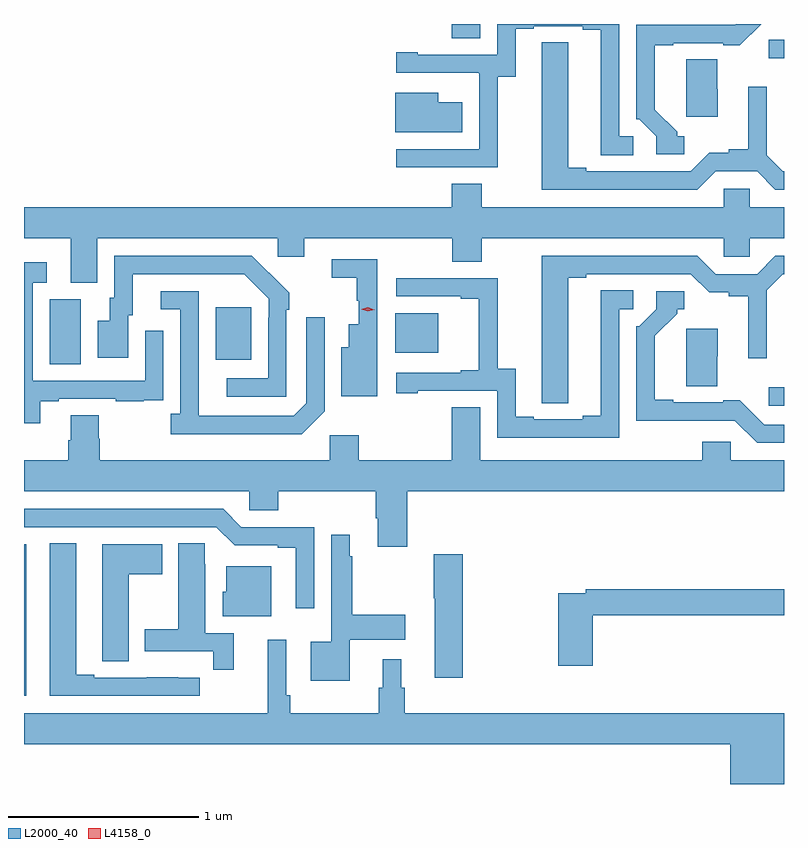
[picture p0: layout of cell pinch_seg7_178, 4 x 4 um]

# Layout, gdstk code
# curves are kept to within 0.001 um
import gdstk
lib = gdstk.Library(unit=1e-6, precision=1e-09)
def R(c, l, rs):  # rectangles x0, y0, x1, y1
    for r in rs: c.add(gdstk.rectangle(r[:2], r[2:], *l))
def P(c, l, *ps):  # polygons
    for p in ps: c.add(gdstk.Polygon(p, *l))
L2000_40 = (2000, 40)
L4158_0 = (4158, 0)

pinch_seg7_178 = lib.new_cell('pinch_seg7_178')
R(pinch_seg7_178, L2000_40, [(1102.247,1016.856,1102.258,1017.654), (1106.166,1018.383,1106.247,1018.48), (1102.382,1018.6,1102.546,1018.944), (1103.255,1018.625,1103.443,1018.9), (1104.2,1018.661,1104.427,1018.87), (1106.166,1020.212,1106.247,1020.309), (1104.497,1020.316,1104.649,1020.392)])
P(pinch_seg7_178, L2000_40, [(1104.741,1020.115),(1104.835,1020.115),(1104.835,1020.366),(1104.931,1020.366),(1104.931,1020.381),(1105.187,1020.381),(1105.187,1020.361),(1105.283,1020.361),(1105.283,1019.701),(1105.453,1019.701),(1105.453,1019.802),(1105.38,1019.802),(1105.38,1020.392),(1104.738,1020.392),(1104.738,1020.231),(1104.319,1020.231),(1104.319,1020.244),(1104.207,1020.244),(1104.207,1020.135),(1104.641,1020.135),(1104.641,1020.134),(1104.642,1020.134),(1104.642,1019.733),(1104.207,1019.733),(1104.207,1019.637),(1104.741,1019.637)],
  [(1105.723,1019.802),(1105.684,1019.802),(1105.684,1019.826),(1105.567,1019.942),(1105.567,1020.279),(1105.663,1020.279),(1105.663,1020.291),(1105.928,1020.291),(1105.928,1020.28),(1106.014,1020.28),(1106.126,1020.392),(1105.994,1020.392),(1105.989,1020.387),(1105.733,1020.387),(1105.733,1020.389),(1105.47,1020.389),(1105.47,1019.892),(1105.485,1019.892),(1105.575,1019.802),(1105.575,1019.706),(1105.723,1019.706)],
  [(1105.887,1019.616),(1106.105,1019.616),(1106.201,1019.52),(1106.247,1019.52),(1106.247,1019.616),(1106.241,1019.616),(1106.157,1019.7),(1106.157,1020.061),(1106.06,1020.061),(1106.06,1019.732),(1105.956,1019.732),(1105.956,1019.714),(1105.853,1019.714),(1105.755,1019.616),(1105.207,1019.616),(1105.207,1019.636),(1105.111,1019.636),(1105.111,1020.296),(1104.972,1020.296),(1104.971,1019.52),(1105.791,1019.52)],
  [(1105.897,1020.048),(1105.896,1020.048),(1105.896,1020.206),(1105.733,1020.206),(1105.733,1019.904),(1105.897,1019.904)],
  [(1104.553,1019.98),(1104.427,1019.98),(1104.427,1020.031),(1104.2,1020.031),(1104.2,1019.822),(1104.553,1019.822)],
  [(1102.633,1019.264),(1103.583,1019.264),(1103.583,1019.166),(1103.722,1019.166),(1103.722,1019.264),(1104.502,1019.264),(1104.502,1019.14),(1104.657,1019.14),(1104.657,1019.264),(1105.929,1019.264),(1105.929,1019.166),(1106.067,1019.166),(1106.067,1019.264),(1106.247,1019.264),(1106.247,1019.428),(1106.067,1019.428),(1106.067,1019.526),(1105.929,1019.526),(1105.929,1019.428),(1104.657,1019.428),(1104.657,1019.552),(1104.497,1019.552),(1104.497,1019.428),(1102.247,1019.428),(1102.247,1019.264),(1102.493,1019.264),(1102.493,1019.029),(1102.633,1019.029)],
  [(1105.111,1019.056),(1105.207,1019.056),(1105.207,1019.076),(1105.755,1019.076),(1105.853,1018.979),(1105.956,1018.979),(1105.956,1018.96),(1106.06,1018.96),(1106.06,1018.632),(1106.157,1018.632),(1106.157,1018.992),(1106.241,1019.076),(1106.247,1019.076),(1106.247,1019.172),(1106.201,1019.172),(1106.105,1019.076),(1105.887,1019.076),(1105.791,1019.172),(1104.971,1019.172),(1104.972,1018.396),(1105.111,1018.396)],
  [(1103.628,1018.889),(1103.643,1018.889),(1103.643,1018.977),(1103.446,1019.172),(1102.722,1019.172),(1102.722,1018.95),(1102.697,1018.95),(1102.697,1018.831),(1102.634,1018.831),(1102.634,1018.635),(1102.795,1018.635),(1102.795,1018.86),(1102.819,1018.86),(1102.819,1019.076),(1103.407,1019.076),(1103.535,1018.947),(1103.535,1018.847),(1103.532,1018.847),(1103.532,1018.527),(1103.313,1018.527),(1103.313,1018.431),(1103.628,1018.431)],
  [(1104.106,1018.665),(1104.105,1018.665),(1104.105,1019.154),(1103.868,1019.154),(1103.868,1019.056),(1103.997,1019.056),(1103.997,1018.935),(1104.008,1018.935),(1104.008,1018.813),(1103.957,1018.813),(1103.957,1018.69),(1103.918,1018.69),(1103.918,1018.433),(1104.106,1018.433)],
  [(1102.333,1018.407),(1102.429,1018.407),(1102.429,1018.419),(1102.729,1018.419),(1102.729,1018.407),(1102.877,1018.407),(1102.877,1018.413),(1102.979,1018.413),(1102.979,1018.522),(1102.98,1018.522),(1102.98,1018.777),(1102.884,1018.777),(1102.884,1018.515),(1102.293,1018.515),(1102.293,1019.031),(1102.366,1019.031),(1102.366,1019.137),(1102.247,1019.137),(1102.247,1018.29),(1102.333,1018.29)],
  [(1105.38,1018.89),(1105.453,1018.89),(1105.453,1018.991),(1105.283,1018.991),(1105.283,1018.331),(1105.187,1018.331),(1105.187,1018.311),(1104.931,1018.311),(1104.931,1018.326),(1104.835,1018.326),(1104.835,1018.577),(1104.741,1018.577),(1104.741,1019.055),(1104.207,1019.055),(1104.207,1018.959),(1104.545,1018.959),(1104.545,1018.947),(1104.641,1018.947),(1104.641,1018.57),(1104.545,1018.57),(1104.545,1018.557),(1104.207,1018.557),(1104.207,1018.449),(1104.319,1018.449),(1104.319,1018.461),(1104.738,1018.461),(1104.738,1018.215),(1105.38,1018.215)],
  [(1106.247,1018.284),(1106.142,1018.284),(1106.014,1018.412),(1105.928,1018.412),(1105.928,1018.401),(1105.663,1018.401),(1105.663,1018.414),(1105.567,1018.414),(1105.567,1018.75),(1105.684,1018.867),(1105.684,1018.89),(1105.723,1018.89),(1105.723,1018.986),(1105.575,1018.986),(1105.575,1018.89),(1105.485,1018.8),(1105.47,1018.8),(1105.47,1018.304),(1105.989,1018.305),(1106.106,1018.188),(1106.247,1018.188)],
  [(1103.829,1018.353),(1103.829,1018.849),(1103.733,1018.849),(1103.733,1018.395),(1103.667,1018.329),(1103.167,1018.329),(1103.166,1018.986),(1102.968,1018.986),(1102.968,1018.89),(1103.07,1018.89),(1103.07,1018.342),(1103.019,1018.342),(1103.019,1018.232),(1103.708,1018.232)],
  [(1105.896,1018.644),(1105.897,1018.644),(1105.897,1018.789),(1105.733,1018.789),(1105.733,1018.486),(1105.896,1018.486)],
  [(1104.263,1017.932),(1106.247,1017.932),(1106.247,1018.096),(1105.968,1018.096),(1105.968,1018.194),(1105.817,1018.194),(1105.817,1018.096),(1104.649,1018.096),(1104.649,1018.376),(1104.497,1018.376),(1104.497,1018.096),(1104.008,1018.096),(1104.008,1018.228),(1103.856,1018.228),(1103.856,1018.096),(1102.646,1018.096),(1102.646,1018.209),(1102.641,1018.209),(1102.641,1018.334),(1102.493,1018.334),(1102.493,1018.202),(1102.481,1018.202),(1102.481,1018.096),(1102.247,1018.096),(1102.247,1017.932),(1103.433,1017.932),(1103.433,1017.834),(1103.585,1017.834),(1103.585,1017.932),(1104.098,1017.932),(1104.098,1017.79),(1104.11,1017.79),(1104.11,1017.642),(1104.263,1017.642)],
  [(1103.775,1017.744),(1103.391,1017.744),(1103.295,1017.84),(1102.247,1017.84),(1102.247,1017.744),(1103.259,1017.744),(1103.355,1017.648),(1103.582,1017.648),(1103.582,1017.636),(1103.678,1017.636),(1103.678,1017.318),(1103.775,1017.318)],
  [(1103.962,1017.152),(1104.253,1017.152),(1104.253,1017.282),(1103.974,1017.282),(1103.974,1017.59),(1103.962,1017.59),(1103.962,1017.703),(1103.865,1017.703),(1103.865,1017.142),(1103.756,1017.142),(1103.756,1016.936),(1103.962,1016.936)],
  [(1103.351,1017.186),(1103.2,1017.186),(1103.2,1017.548),(1103.199,1017.548),(1103.199,1017.659),(1103.06,1017.659),(1103.06,1017.207),(1102.883,1017.207),(1102.883,1017.09),(1103.242,1017.09),(1103.242,1016.994),(1103.351,1016.994)],
  [(1103.173,1016.952),(1103.06,1016.952),(1103.06,1016.953),(1102.894,1016.953),(1102.894,1016.952),(1102.618,1016.952),(1102.618,1016.967),(1102.522,1016.967),(1102.522,1017.659),(1102.382,1017.659),(1102.382,1016.856),(1103.173,1016.856)],
  [(1102.798,1017.496),(1102.975,1017.496),(1102.975,1017.655),(1102.658,1017.655),(1102.658,1017.145),(1102.659,1017.145),(1102.659,1017.037),(1102.798,1017.037)],
  [(1104.557,1017.601),(1104.403,1017.601),(1104.403,1017.37),(1104.41,1017.37),(1104.41,1016.952),(1104.557,1016.952)],
  [(1103.548,1017.538),(1103.312,1017.538),(1103.312,1017.405),(1103.294,1017.405),(1103.294,1017.275),(1103.548,1017.275)],
  [(1105.241,1017.28),(1106.247,1017.28),(1106.247,1017.416),(1105.204,1017.416),(1105.204,1017.396),(1105.058,1017.396),(1105.058,1017.015),(1105.241,1017.015)],
  [(1106.247,1016.764),(1104.251,1016.764),(1104.251,1016.898),(1104.232,1016.898),(1104.232,1017.049),(1104.134,1017.049),(1104.134,1016.898),(1104.115,1016.898),(1104.115,1016.764),(1103.648,1016.764),(1103.648,1016.86),(1103.628,1016.86),(1103.628,1017.151),(1103.531,1017.151),(1103.531,1016.764),(1102.247,1016.764),(1102.247,1016.6),(1105.964,1016.6),(1105.964,1016.392),(1106.247,1016.392)])
P(pinch_seg7_178, L4158_0, [(1104.056,1018.88),(1104.021,1018.891),(1104.021,1018.891),(1104.021,1018.891),(1104.057,1018.9),(1104.091,1018.889),(1104.092,1018.888),(1104.091,1018.888)])

lib.write_gds('pinch_seg7_178.gds')
